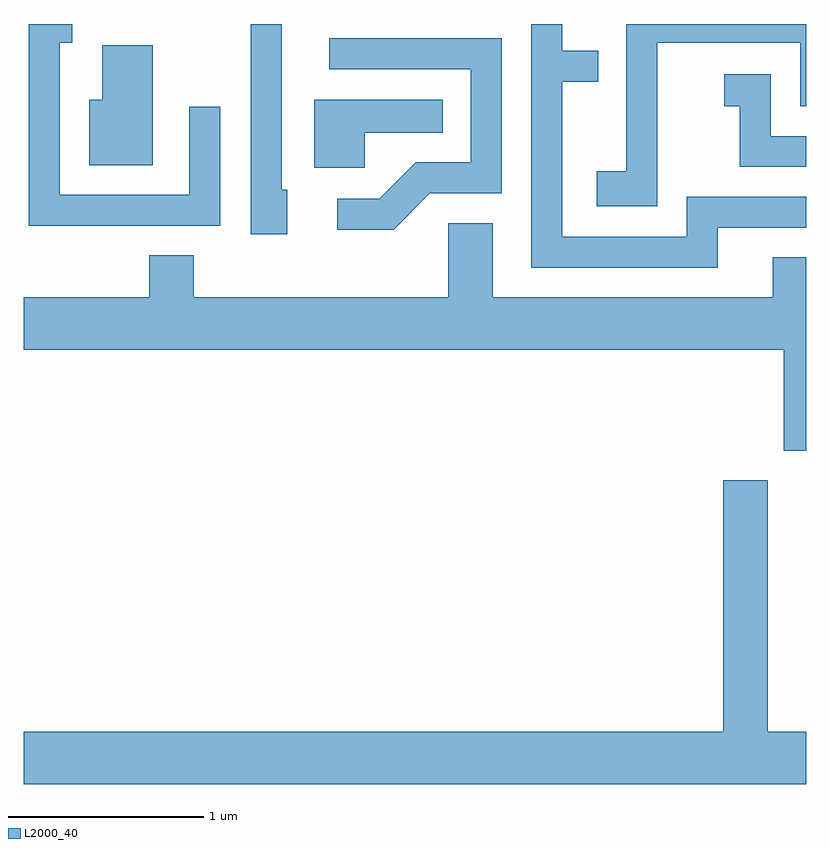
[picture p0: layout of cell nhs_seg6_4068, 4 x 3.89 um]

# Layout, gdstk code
import gdstk
lib = gdstk.Library(unit=1e-6, precision=1e-09)
def P(c, l, *ps):  # polygons
    for p in ps: c.add(gdstk.Polygon(p, *l))
L2000_40 = (2000, 40)

nhs_seg6_4068 = lib.new_cell('nhs_seg6_4068')
P(nhs_seg6_4068, L2000_40, [(310.614,1535.738),(310.456,1535.738),(310.456,1535.289),(309.794,1535.289),(309.794,1536.066),(309.859,1536.066),(309.859,1536.162),(309.636,1536.162),(309.636,1535.131),(310.614,1535.131)],
  [(312.849,1536.066),(313.581,1536.066),(313.581,1535.741),(313.611,1535.741),(313.611,1536.162),(312.691,1536.162),(312.691,1535.409),(312.541,1535.409),(312.541,1535.231),(312.849,1535.231)],
  [(310.959,1535.314),(310.929,1535.314),(310.929,1536.162),(310.771,1536.162),(310.771,1535.086),(310.959,1535.086)],
  [(313.159,1535.121),(313.611,1535.121),(313.611,1535.279),(313.001,1535.279),(313.001,1535.074),(312.364,1535.074),(312.364,1535.866),(312.548,1535.866),(312.548,1536.024),(312.364,1536.024),(312.364,1536.162),(312.206,1536.162),(312.206,1534.916),(313.159,1534.916)],
  [(311.687,1535.296),(312.054,1535.296),(312.054,1536.089),(311.173,1536.089),(311.173,1535.931),(311.896,1535.931),(311.896,1535.454),(311.614,1535.454),(311.429,1535.269),(311.213,1535.269),(311.213,1535.111),(311.502,1535.111)],
  [(310.269,1536.054),(310.011,1536.054),(310.011,1535.774),(309.946,1535.774),(309.946,1535.441),(310.269,1535.441)],
  [(313.611,1535.589),(313.429,1535.589),(313.429,1535.904),(313.193,1535.904),(313.193,1535.741),(313.271,1535.741),(313.271,1535.431),(313.611,1535.431)],
  [(311.354,1535.606),(311.753,1535.606),(311.753,1535.774),(311.096,1535.774),(311.096,1535.426),(311.354,1535.426)],
  [(313.611,1534.969),(313.441,1534.969),(313.441,1534.764),(312.009,1534.764),(312.009,1535.144),(311.781,1535.144),(311.781,1534.764),(310.479,1534.764),(310.479,1534.979),(310.251,1534.979),(310.251,1534.764),(309.611,1534.764),(309.611,1534.496),(313.496,1534.496),(313.496,1533.981),(313.611,1533.981)],
  [(313.611,1532.544),(313.414,1532.544),(313.414,1533.829),(313.186,1533.829),(313.186,1532.544),(309.611,1532.544),(309.611,1532.276),(313.611,1532.276)])

lib.write_gds('nhs_seg6_4068.gds')
